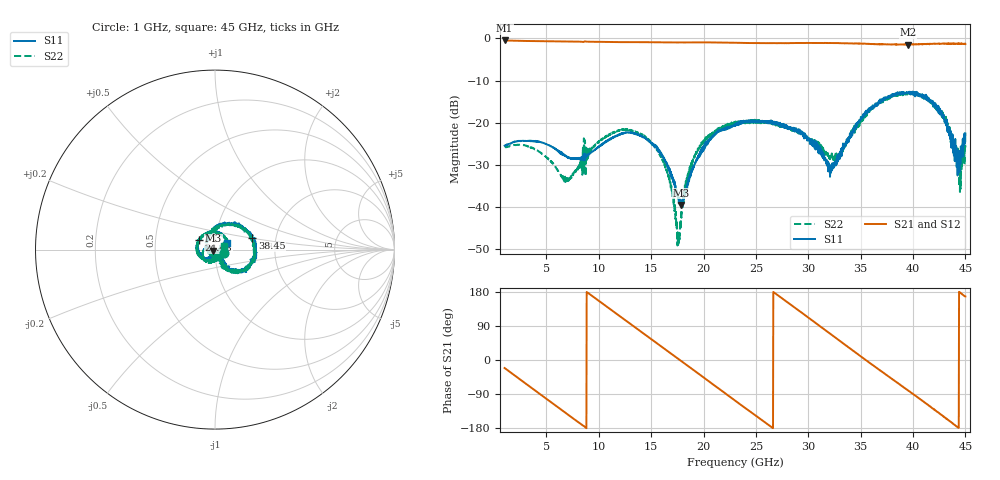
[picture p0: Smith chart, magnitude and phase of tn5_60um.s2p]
!Keysight Technologies,N5247B,MY61255062,A.19.80.06
!Date: Thursday, May 21, 2026 12:30:33
!Correction: S11(Cdelta 2-Port  )
!S21(Cdelta 2-Port  )
!S12(Cdelta 2-Port  )
!S22(Cdelta 2-Port  )
!S2P File: Measurements: S11, S21, S12, S22:
# Hz S  dB  R 50
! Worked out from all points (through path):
!   1601 points, 1 GHz to 45 GHz, reference 50 ohm
!   highest |S21| = -0.48 dB at 1 GHz (marker M1); lowest = -1.5 dB at 39.53 GHz (marker M2)
!   group delay of S21, straight-line fit = 56.2 ps
!   lowest |S11| = -39.5 dB at 17.83 GHz (marker M3), VSWR 1.02, Z = 49.1 - j0.569 ohm
!   |S11| at or under -10 dB: start of sweep to end of sweep
!   |S22| runs from -49.3 to -12.7 dB; largest |S21 - S12| = 0.018
!   S11 on the Smith chart (normalised r, x): 1 GHz: 1.11, -0.04; 24.48 GHz: 0.83, +0.09; 38.45 GHz: 1.51, +0.20; 45 GHz: 1.14, +0.08
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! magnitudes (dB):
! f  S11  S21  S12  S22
! 1 GHz  -25.5  -0.5  -0.5  -25.7
! 3.86 GHz  -24.4  -0.6  -0.6  -26.3
! 6.912 GHz  -28.0  -0.7  -0.7  -34.1
! 8.342 GHz  -28.3  -0.8  -0.8  -30.8
! 12.33 GHz  -22.5  -0.9  -0.9  -21.8
! 15.69 GHz  -26.3  -0.9  -0.9  -26.9
! 16.79 GHz  -31.0  -0.9  -1.0  -34.7
! 17.53 GHz  -37.4  -0.9  -1.0  -46.0
! 17.83 GHz  -39.5  -0.9  -1.0  -43.0
! 18.43 GHz  -35.6  -0.9  -1.0  -34.0
! 19.51 GHz  -28.0  -0.9  -0.9  -26.5
! 23 GHz  -20.5  -1.0  -1.0  -20.2
! 24.48 GHz  -19.6  -1.1  -1.1  -20.0
! 30.34 GHz  -25.3  -1.1  -1.1  -23.9
! 32.3 GHz  -29.6  -1.1  -1.1  -28.2
! 35.29 GHz  -18.6  -1.3  -1.3  -18.2
! 37.69 GHz  -13.7  -1.4  -1.4  -13.7
! 38.45 GHz  -13.2  -1.4  -1.4  -13.6
! 39.53 GHz  -12.8  -1.5  -1.5  -13.2
! 42.47 GHz  -17.2  -1.2  -1.2  -17.6
! 44.31 GHz  -27.5  -1.3  -1.3  -32.1
! 45 GHz  -22.6  -1.3  -1.3  -25.9
